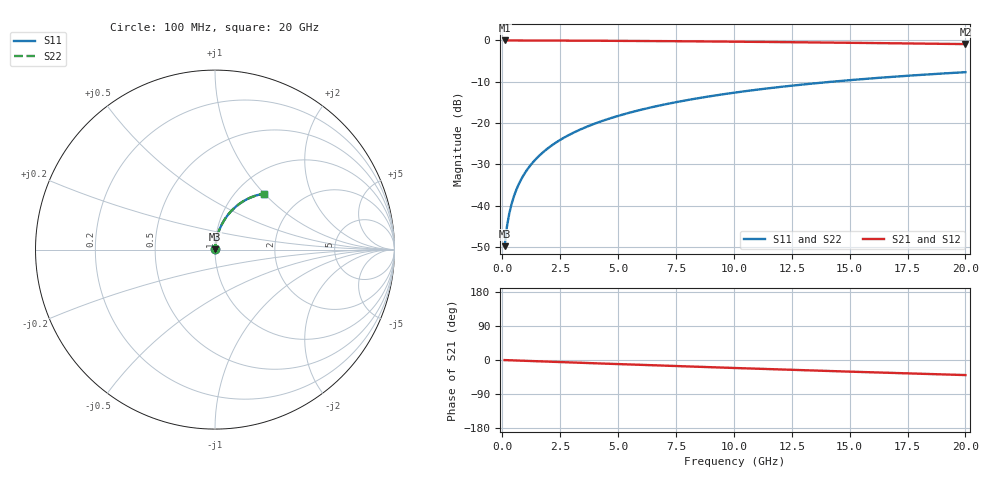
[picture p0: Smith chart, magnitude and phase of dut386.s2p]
! Touchstone file exported from HFSS 2026.1.0
!  File:  C:/ffzhzh/LocalFiles/Ansys_Project_Files/temp_train_TMRDL_386_1783004642_46388.aedt
!  Generated:  11:05:27 PM Jul  2, 2026
!  Design:  TMRDL
!  Project:  temp_train_TMRDL_386_1783004642_46388
! Variables:
!  h_bsmrdl = 2um
!  h_ox = 20um
!  h_rdl = 5um
!  h_sub = 80um
!  h_tmrdl = 5.98um
!  h_tsv = 80um
!  h_via = 3um
!  l_bsmrdl = 300um
!  l_sub = 945.29um
!  l_tmrdl = 545.29um
!  m_sub = 200um
!  pitch = 56.08um
!  r_tsv = 6um
!  s_tmrdl = 10um
!  w_bsmrdl = 18um
!  w_sub = 500um
!  w_tmrdl = 18.33um
!  x_tsv_center1 = 554.455um
!  x_tsv_center2 = 872.455um
!  x_tsv_center3 = 1436.075um
!  x_tsv_center4 = 1754.075um
!  x_tsv_center5 = 2317.695um
!  x_tsv_center6 = 2635.695um
# GHz S MA R 50.000000
! Terminal data exported
! Port[1] = TM_RDL1_1_T1
! Port[2] = TM_RDL1_1_T2
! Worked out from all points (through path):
!   200 points, 100 MHz to 20 GHz, reference 50 ohm
!   highest |S21| = -0.02 dB at 100 MHz (marker M1); lowest = -0.9 dB at 20 GHz (marker M2)
!   group delay of S21, straight-line fit = 5.53 ps
!   lowest |S11| = -49.8 dB at 100 MHz (marker M3), VSWR 1.01, Z = 50.2 + j0.265 ohm
!   |S11| at or under -10 dB: start of sweep to 14.23 GHz
!   |S22| runs from -49.8 to -7.7 dB; largest |S21 - S12| = 3.9e-15
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0.1  0.003242 54.5  0.9981 -0.2  0.9981 -0.2  0.003242 54.5
! Gamma 0 0 0 0
! Port Impedance 50 0 50 0
0.2  0.005575 68.9  0.998 -0.4  0.998 -0.4  0.005575 68.9
0.3  0.008009 74.6  0.9979 -0.7  0.9979 -0.7  0.008009 74.6
0.4  0.01047 77.6  0.9979 -0.9  0.9979 -0.9  0.01047 77.6
0.5  0.01295 79.4  0.9978 -1.1  0.9978 -1.1  0.01295 79.4
0.7  0.01794 81.4  0.9976 -1.5  0.9976 -1.5  0.01794 81.4
0.8  0.02044 81.9  0.9975 -1.8  0.9975 -1.8  0.02044 81.9
1  0.02545 82.5  0.9973 -2.2  0.9973 -2.2  0.02545 82.5
1.2  0.03044 82.7  0.9971 -2.6  0.9971 -2.6  0.03044 82.7
1.4  0.03543 82.8  0.9968 -3.1  0.9968 -3.1  0.03543 82.8
1.7  0.04289 82.6  0.9963 -3.7  0.9963 -3.7  0.04289 82.6
2  0.0503 82.2  0.9958 -4.4  0.9958 -4.4  0.0503 82.2
2.7  0.06743 81.1  0.9942 -5.9  0.9942 -5.9  0.06743 81.1
3.5  0.0867 79.7  0.9921 -7.6  0.9921 -7.6  0.0867 79.7
4.2  0.1033 78.4  0.9901 -9.1  0.9901 -9.1  0.1033 78.4
5  0.122 76.8  0.9874 -10.8  0.9874 -10.8  0.122 76.8
6.8  0.1632 73.4  0.9806 -14.5  0.9806 -14.5  0.1632 73.4
8.3  0.1964 70.5  0.9739 -17.6  0.9739 -17.6  0.1964 70.5
10.1  0.2348 67.0  0.9648 -21.2  0.9648 -21.2  0.2348 67.0
13.4  0.3007 60.8  0.9456 -27.7  0.9456 -27.7  0.3007 60.8
16.7  0.36 54.8  0.9243 -33.9  0.9243 -33.9  0.36 54.8
20  0.4125 49.0  0.9019 -39.8  0.9019 -39.8  0.4125 49.0
